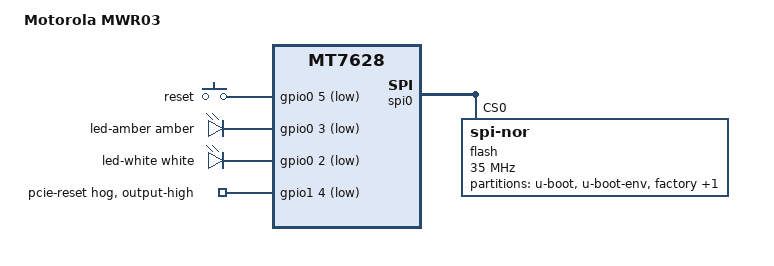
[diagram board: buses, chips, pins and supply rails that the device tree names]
// SPDX-License-Identifier: GPL-2.0-or-later

/dts-v1/;

#include "mt7628a.dtsi"

#include <dt-bindings/gpio/gpio.h>
#include <dt-bindings/input/input.h>
#include <dt-bindings/leds/common.h>

/ {
	compatible = "motorola,mwr03", "mediatek,mt7628-soc";
	model = "Motorola MWR03";

	/delete-node/ clock-48m;
	/delete-node/ watchdog@10000100;
	/delete-node/ serial@10000d00;
	/delete-node/ serial@10000e00;
	/delete-node/ usb-phy@10120000;
	/delete-node/ ehci@101c0000;
	/delete-node/ mmc@10130000;

	aliases {
		serial0 = &uart0;
		spi0 = &spi0;
	};

	chosen {
		stdout-path = "serial0:115200n8";
	};

	gpio-keys {
		compatible = "gpio-keys";

		button-reset {
			label = "reset";
			linux,code = <KEY_RESTART>;
			gpios = <&gpio0 5 GPIO_ACTIVE_LOW>;
		};
	};

	gpio-leds {
		compatible = "gpio-leds";

		led-amber {
			color = <LED_COLOR_ID_AMBER>;
			function = LED_FUNCTION_STATUS;
			gpios = <&gpio0 3 GPIO_ACTIVE_LOW>;
			default-state = "off";
		};

		led-white {
			color = <LED_COLOR_ID_WHITE>;
			function = LED_FUNCTION_STATUS;
			gpios = <&gpio0 2 GPIO_ACTIVE_LOW>;
			default-state = "on";
		};
	};

	options {
		u-boot {
			compatible = "u-boot,config";
			boot-btn1 = "reset";
			boot-led1 = "white:status";
			boot-led2 = "amber:status";
			bootcmd_1-1 = "tftp_boot_ik";
			bootcmd_1-2 = "tftp_update_fw";
			bootcmd_1-3 = "switch_console";
			bootcmd_1-4 = "env init";
		};
	};
};

&eth {
	mediatek,wan-port = <0>;

	pinctrl-names = "default";
	pinctrl-0 = <&ephy_router_mode>;
};

&gpio1 {
	pcie-reset {
		gpio-hog;
		gpios = <4 GPIO_ACTIVE_LOW>;
		output-high;
	};
};

&pinctrl {
	/delete-node/ spi_dual_pins;
	/delete-node/ uart1_pins;
	/delete-node/ uart2_pins;
	/delete-node/ uart2_pwm_pins;
	/delete-node/ i2c_pins;
	/delete-node/ ephy_iot_mode;
	/delete-node/ sd_iot_mode;
	/delete-node/ sd_router_mode;
	/delete-node/ emmc_iot_8bit_mode;
};

&spi0 {
	flash@0 {
		compatible = "jedec,spi-nor";
		reg = <0>;
		spi-max-frequency = <35000000>;

		partitions {
			compatible = "fixed-partitions";
			#address-cells = <1>;
			#size-cells = <1>;

			partition@0 {
				label = "u-boot";
				reg = <0x00000 0x30000>;
			};

			partition@30000 {
				label = "u-boot-env";
				reg = <0x30000 0x10000>;
			};

			partition@40000 {
				label = "factory";
				reg = <0x40000 0x10000>;
			};

			partition@50000 {
				label = "firmware";
				reg = <0x50000 0x00000>;
			};
		};
	};
};

&state_default {
	gpios {
		groups = "gpio0", "spis", "spi cs1", "i2s", "sdmode", "wdt", "perst", \
			 "refclk", "i2c", "uart1", "uart2", "pwm0", "pwm1", "wled_a", \
			 "p0led_a", "p1led_a", "p2led_a", "p3led_a", "p4led_a";
		function = "gpio";
	};
};
